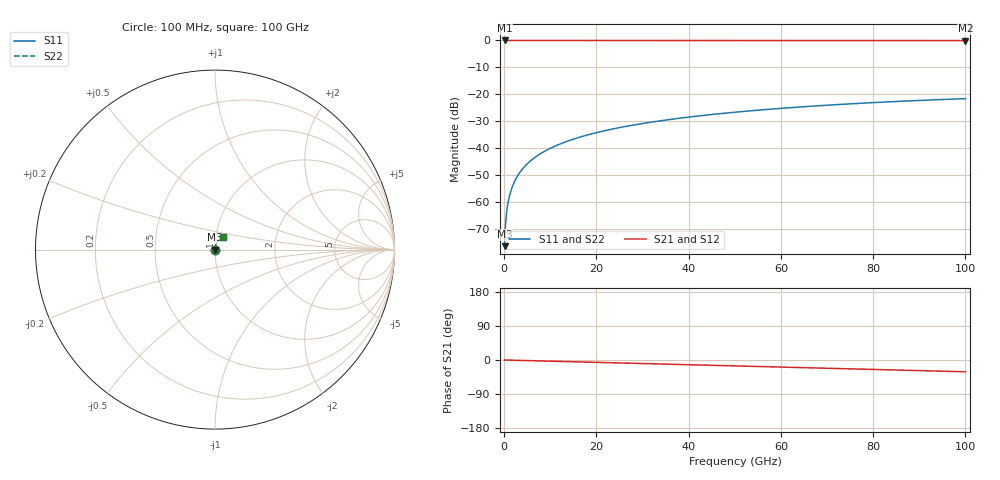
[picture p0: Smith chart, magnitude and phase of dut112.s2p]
! Touchstone file exported from HFSS 2026.1.0
!  File:  C:/ffzhzh/LocalFiles/Ansys_Project_Files/temp_train_TSV_112_1783505963_55944.aedt
!  Generated:  06:20:36 PM Jul  8, 2026
!  Design:  TSV
!  Project:  temp_train_TSV_112_1783505963_55944
! Variables:
!  h_bsmrdl = 2um
!  h_ox = 20um
!  h_rdl = 5um
!  h_sub = 55.57um
!  h_tmrdl = 5um
!  h_tsv = 55.57um
!  h_via = 3um
!  l_bsmrdl = 300um
!  l_sub = 421.92um
!  l_tmrdl = 200um
!  m_sub = 200um
!  pitch = 53.17um
!  r_tsv = 10.96um
!  s_tmrdl = 10um
!  w_bsmrdl = 18um
!  w_sub = 500um
!  w_tmrdl = 12um
!  x_tsv_center1 = 206um
!  x_tsv_center2 = 524um
!  x_tsv_center3 = 736um
!  x_tsv_center4 = 1054um
!  x_tsv_center5 = 1266um
!  x_tsv_center6 = 1584um
# GHz S MA R 50.000000
! Terminal data exported
! Port[1] = TSV1_1_T1
! Port[2] = TSV1_1_T2
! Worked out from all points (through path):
!   1000 points, 100 MHz to 100 GHz, reference 50 ohm
!   highest |S21| = 0.00 dB at 100 MHz (marker M1); lowest = 0.0 dB at 100 GHz (marker M2)
!   group delay of S21, straight-line fit = 863 fs
!   lowest |S11| = -76.3 dB at 100 MHz (marker M3), VSWR 1.00, Z = 50 + j0.0128 ohm
!   |S11| at or under -10 dB: start of sweep to end of sweep
!   |S22| runs from -76.3 to -21.6 dB; largest |S21 - S12| = 2.1e-15
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0.1  0.0001531 56.5  0.9999 -0.0  0.9999 -0.0  0.0001531 56.5
! Gamma 0 0 0 0
! Port Impedance 50 0 50 0
0.3  0.0003882 73.9  0.9999 -0.1  0.9999 -0.1  0.0003882 73.9
0.7  0.0008322 78.4  0.9998 -0.2  0.9998 -0.2  0.0008322 78.4
0.8  0.0009376 78.9  0.9998 -0.3  0.9998 -0.3  0.0009376 78.9
1  0.001146 79.8  0.9998 -0.3  0.9998 -0.3  0.001146 79.8
1.3  0.001455 80.8  0.9998 -0.4  0.9998 -0.4  0.001455 80.8
1.8  0.001965 81.8  0.9997 -0.6  0.9997 -0.6  0.001965 81.8
2.3  0.002471 82.5  0.9997 -0.7  0.9997 -0.7  0.002471 82.5
3  0.003171 83.0  0.9997 -0.9  0.9997 -0.9  0.003171 83.0
3.8  0.003963 83.3  0.9996 -1.2  0.9996 -1.2  0.003963 83.3
4.8  0.004945 83.5  0.9996 -1.5  0.9996 -1.5  0.004945 83.5
6  0.006117 83.7  0.9995 -1.9  0.9995 -1.9  0.006117 83.7
8.8  0.008835 83.5  0.9994 -2.8  0.9994 -2.8  0.008835 83.5
12.4  0.0123 82.9  0.9992 -3.9  0.9992 -3.9  0.0123 82.9
16.8  0.01649 81.9  0.9991 -5.2  0.9991 -5.2  0.01649 81.9
24.2  0.02345 80.1  0.9987 -7.5  0.9987 -7.5  0.02345 80.1
33.4  0.03195 77.6  0.9983 -10.4  0.9983 -10.4  0.03195 77.6
41.2  0.03897 75.3  0.998 -12.8  0.998 -12.8  0.03897 75.3
50.1  0.04674 72.7  0.9975 -15.6  0.9975 -15.6  0.04674 72.7
66.7  0.0604 67.8  0.9965 -20.7  0.9965 -20.7  0.0604 67.8
83.4  0.07278 62.8  0.9955 -25.9  0.9955 -25.9  0.07278 62.8
100  0.08336 57.8  0.9944 -31.1  0.9944 -31.1  0.08336 57.7
